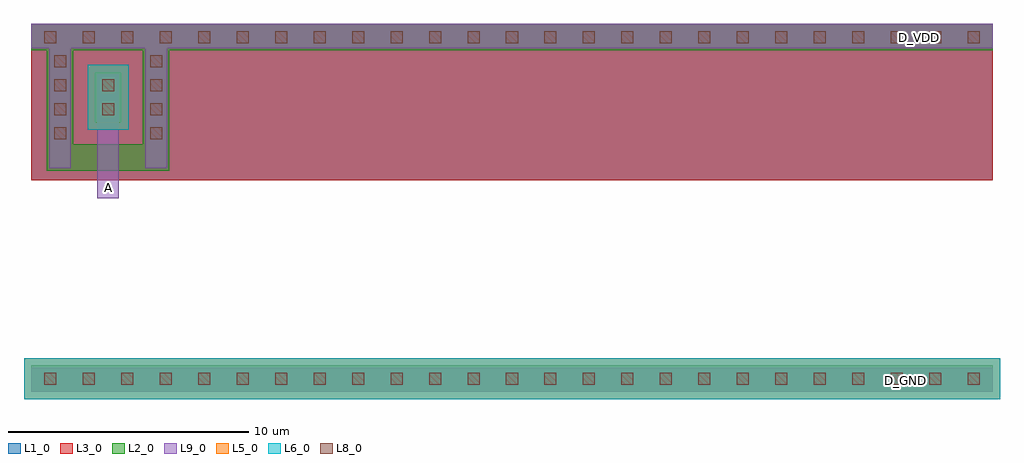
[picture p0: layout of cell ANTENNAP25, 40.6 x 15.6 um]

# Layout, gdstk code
import gdstk
lib = gdstk.Library(unit=1e-6, precision=1e-09)
def R(c, l, rs):  # rectangles x0, y0, x1, y1
    for r in rs: c.add(gdstk.rectangle(r[:2], r[2:], *l))
def A(c, l, x, y, w, h, nx, ny, dx, dy):  # array of equal rectangles
    R(c, l, [(x+i*dx, y+j*dy, x+i*dx+w, y+j*dy+h) for i in range(nx) for j in range(ny)])
def P(c, l, *ps):  # polygons
    for p in ps: c.add(gdstk.Polygon(p, *l))
L1_0 = (1, 0)
L2_0 = (2, 0)
L3_0 = (3, 0)
L5_0 = (5, 0)
L6_0 = (6, 0)
L8_0 = (8, 0)
L9_0 = (9, 0)

antennap25 = lib.new_cell('ANTENNAP25')
A(antennap25, L1_0, 4.8, 8.8, 1.6, 6.5, 22, 1, 1.6, 0)
R(antennap25, L1_0, [(0,8.8,1.6,15.3), (0,8.8,1.6,15.3), (1.6,8.8,3.2,15.3), (1.6,8.8,3.2,15.3), (3.2,8.8,4.8,15.3), (3.2,8.8,4.8,15.3), (4.8,8.8,6.4,15.3)])
A(antennap25, L2_0, 0, 0, 1.6, 1.1, 25, 2, 1.6, 14.2)
R(antennap25, L2_0, [(2.65,11.2,3.75,12.3), (2.65,12.2,3.75,13.3)])
P(antennap25, L2_0, [(5.75,9.2),(5.75,14.2),(4.65,14.2),(4.65,10.3),(1.75,10.3),(1.75,14.2),(5.75,14.2),(5.75,15.3),(0.65,15.3),(0.65,9.2)])
A(antennap25, L3_0, 4.8, 8.8, 1.6, 6.5, 22, 1, 1.6, 0)
R(antennap25, L3_0, [(0,8.8,1.6,15.3), (0,8.8,1.6,15.3), (1.6,8.8,3.2,15.3), (1.6,8.8,3.2,15.3), (3.2,8.8,4.8,15.3), (3.2,8.8,4.8,15.3), (4.8,8.8,6.4,15.3)])
A(antennap25, L5_0, 1.6, -0.3, 1.6, 1.7, 23, 1, 1.6, 0)
R(antennap25, L5_0, [(-0.3,-0.3,1.6,1.4), (38.4,-0.3,40.3,1.4), (2.35,10.9,4.05,12.6), (2.35,11.9,4.05,13.6)])
A(antennap25, L6_0, 1.6, -0.3, 1.6, 1.7, 23, 1, 1.6, 0)
R(antennap25, L6_0, [(-0.3,-0.3,1.6,1.4), (38.4,-0.3,40.3,1.4), (2.35,10.9,4.05,12.6), (2.35,11.9,4.05,13.6)])
A(antennap25, L8_0, 0.55, 0.3, 0.5, 0.5, 25, 2, 1.6, 14.2)
A(antennap25, L8_0, 0.95, 11.5, 0.5, 0.5, 3, 2, 2, 1)
R(antennap25, L8_0, [(0.95,10.5,1.45,11), (4.95,10.5,5.45,11), (0.95,13.5,1.45,14), (4.95,13.5,5.45,14)])
A(antennap25, L9_0, 0, 0, 1.6, 1, 25, 2, 1.6, 14.3)
R(antennap25, L9_0, [(35.9,0,36.8,0.9), (2.75,8.05,3.65,8.95), (2.75,8.05,3.65,12.2), (2.75,11.3,3.65,12.2), (2.75,12.2,3.65,12.3), (2.75,12.3,3.65,13.2), (36.5,14.3,37.4,15.2)])
P(antennap25, L9_0, [(1.65,9.3),(1.65,14.3),(4.75,14.3),(4.75,9.3),(5.65,9.3),(5.65,15.2),(5.6,15.2),(5.6,15),(0.75,15),(0.75,9.3)])
antennap25.add(gdstk.Label('D_GND', (36.35,0.45), layer=50, texttype=0))
antennap25.add(gdstk.Label('D_VDD', (36.95,14.75), layer=50, texttype=0))
antennap25.add(gdstk.Label('A', (3.2,8.5), layer=50, texttype=0))

lib.write_gds('ANTENNAP25.gds')
